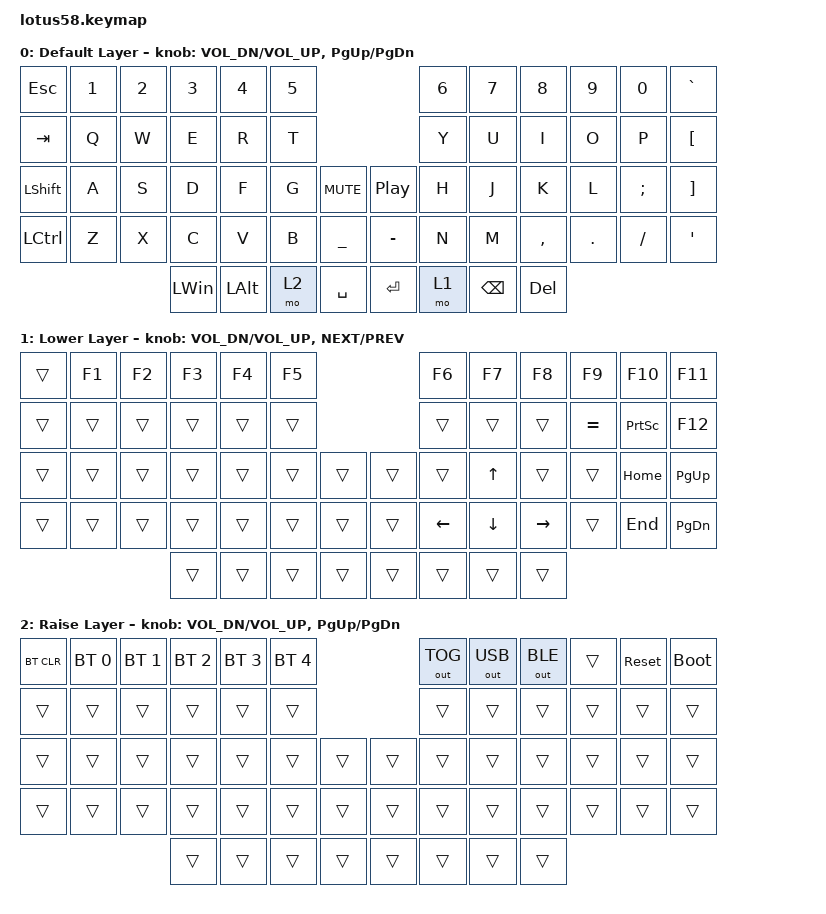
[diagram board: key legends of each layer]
/*
 * Copyright (c) 2022 The ZMK Contributors
 *
 * SPDX-License-Identifier: MIT
 */

#include <behaviors.dtsi>
#include <dt-bindings/zmk/bt.h>
#include <dt-bindings/zmk/keys.h>
#include <dt-bindings/zmk/outputs.h>

/ {
    combos {
        compatible = "zmk,combos";

        combo_dsklg {
            timeout-ms = <100>;
            key-positions = <24 52>;
            layers = <0>;
            bindings = <&kp LGUI>;
        };
    };

    behaviors {
        fofunc: four_ffour {
            compatible = "zmk,behavior-mod-morph";
            #binding-cells = <0>;
            bindings = <&kp N4>, <&kp F4>;

            mods = <(MOD_LALT|MOD_RALT)>;
        };

        sleft: s_left {
            compatible = "zmk,behavior-mod-morph";
            #binding-cells = <0>;
            bindings = <&kp S>, <&kp LEFT>;

            mods = <(MOD_LGUI|MOD_RGUI)>;
        };

        fright: f_right {
            compatible = "zmk,behavior-mod-morph";
            #binding-cells = <0>;
            bindings = <&kp F>, <&kp RIGHT>;

            mods = <(MOD_LGUI|MOD_RGUI)>;
        };
    };

    keymap {
        compatible = "zmk,keymap";

        default_layer {
            display-name = "Default Layer";

            //   ------------------------------------------------------------------------------------------------------------
            //  0|  ESC  |  1  |  2  |  3   |  4   |  5   |                     |  6   |  7    |  8    |  9   |   0   |   =   | 11
            // 12|  TAB  |  Q  |  W  |  E   |  R   |  T   |                     |  Y   |  U    |  I    |  O   |   P   |   [   | 23
            // 24|  SFT  |  A  |  S  |  D   |  F   |  G   |  RESET  |  | RESET  |  H   |  J    |  K    |  L   |   ;   | ' SFT | 37
            // 38|  CTRL |  Z  |  X  |  C   |  V   |  B   |  MUTE   |  | PLAY   |  N   |  M    |  ,    |  .   |   /   | \ CTRL| 51
            // 52                    |ENT RS|  ALT | SPACE|DELETE LW|  |ENTER RS| BSPC |  ] LW | RGUI  |                        59

            bindings = <
&kp ESC    &kp N1  &kp N2  &kp N3        &kp NUMBER_4  &kp N5                             &kp N6  &kp N7         &kp N8     &kp N9   &kp N0    &kp GRAVE
&kp TAB    &kp Q   &kp W   &kp E         &kp R         &kp T                              &kp Y   &kp U          &kp I      &kp O    &kp P     &kp LBKT
&kp LSHFT  &kp A   &kp S   &kp D         &kp F         &kp G   &kp C_MUTE      &kp C_PP   &kp H   &kp J          &kp K      &kp L    &kp SEMI  &kp RIGHT_BRACKET
&kp LCTRL  &kp Z   &kp X   &kp C         &kp V         &kp B   &kp UNDERSCORE  &kp MINUS  &kp N   &kp M          &kp COMMA  &kp DOT  &kp FSLH  &kp SQT
                           &kp LEFT_WIN  &kp LALT      &mo 2   &kp SPACE       &kp ENTER  &mo 1   &kp BACKSPACE  &kp DEL
            >;

            sensor-bindings = <&inc_dec_kp C_VOL_DN C_VOL_UP &inc_dec_kp PG_UP PG_DN>;
        };

        lower_layer {
            display-name = "Lower Layer";

            // ------------------------------------------------------------------------------------------------------------
            // | `     |  F1 |  F2 |  F3  |  F4  |  F5  |                   |  F6  |  F7   |  F8   |  F9  |  F10  |  F11  |
            // |       |  !  | HOME|   ^  |  END |  %   |                   | VOL^ |  PGUP |  INS  |  ^   |  PSCR |   -   |
            // |       |  #  |  <- |   v  | ->   |  $   |        |  |       | VOLv |    <- |   ^   |  ->  |   ~   |   _   |
            // |       |  @  |  -  |  (   |  )   |  &   |        |  |       | MUTE |  PGDN |   v   |  :   |   *   |   |   |
            //                     |  F11 |      |      |        |  |       |      |       |  F12  |

            bindings = <
&trans  &kp F1  &kp F2  &kp F3  &kp F4  &kp F5                  &kp F6          &kp F7          &kp F8           &kp F9     &kp F10    &kp F11
&trans  &trans  &trans  &trans  &trans  &trans                  &trans          &trans          &trans           &kp EQUAL  &kp PSCRN  &kp F12
&trans  &trans  &trans  &trans  &trans  &trans  &trans  &trans  &trans          &kp UP_ARROW    &trans           &trans     &kp HOME   &kp PG_UP
&trans  &trans  &trans  &trans  &trans  &trans  &trans  &trans  &kp LEFT_ARROW  &kp DOWN_ARROW  &kp RIGHT_ARROW  &trans     &kp END    &kp PG_DN
                        &trans  &trans  &trans  &trans  &trans  &trans          &trans          &trans
            >;

            sensor-bindings = <&inc_dec_kp C_VOL_DN C_VOL_UP &inc_dec_kp C_NEXT C_PREV>;
        };

        raise_layer {
            display-name = "Raise Layer";

            // ------------------------------------------------------------------------------------------------------------
            // |BTCLR| BT1  | BT2  |  BT3  |  BT4  |  BT5 |                |OUTTOG|OUTUSB| OUTBT |      | RESET | FLASH |
            // |     | INS  | PSCR | GUI   | RESET |      |                | PGUP |      |   ^   |      |       |       |
            // |     | ALT  | CTRL | SHIFT | FLASH | CAPS |      |  |      | PGDN |   <- |   v   |  ->  |  DEL  | BSPC  |
            // |     | UNDO | CUT  | COPY  | PASTE |      |      |  |      |      |  |>  |  <|<| | |>|> |       |       |
            //                     |       |       |      |      |  |      |      |      |       |

            bindings = <
&bt BT_CLR  &bt BT_SEL 0  &bt BT_SEL 1  &bt BT_SEL 2  &bt BT_SEL 3  &bt BT_SEL 4                  &out OUT_TOG  &out OUT_USB  &out OUT_BLE  &trans  &sys_reset  &bootloader
&trans      &trans        &trans        &trans        &trans        &trans                        &trans        &trans        &trans        &trans  &trans      &trans
&trans      &trans        &trans        &trans        &trans        &trans        &trans  &trans  &trans        &trans        &trans        &trans  &trans      &trans
&trans      &trans        &trans        &trans        &trans        &trans        &trans  &trans  &trans        &trans        &trans        &trans  &trans      &trans
                                        &trans        &trans        &trans        &trans  &trans  &trans        &trans        &trans
            >;

            sensor-bindings = <&inc_dec_kp C_VOL_DN C_VOL_UP &inc_dec_kp PG_UP PG_DN>;
        };
    };
};
